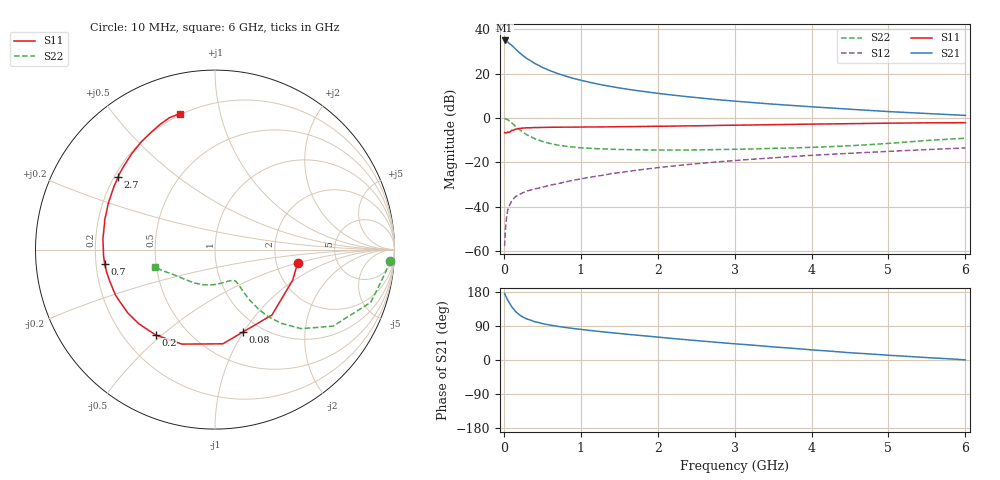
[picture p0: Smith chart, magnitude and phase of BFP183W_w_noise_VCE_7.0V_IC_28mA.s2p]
! Infineon Technologies  Discrete & RF Semiconductors
! BFP183W
! VCE =  7.0 V,  IC =  28 mA
! Common Emitter S-Parameters:  Jan 2017
# GHz  S  MA  R  50
!  f  S11  S21  S12  S22
! GHz  MAG  ANG  MAG  ANG  MAG  ANG  MAG  ANG
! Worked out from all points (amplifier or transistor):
!   77 points, 10 MHz to 6 GHz, reference 50 ohm
!   highest |S21| = 34.9 dB at 10 MHz (marker M1)
!   |S21| within 3 dB of that: start of sweep to 126.3 MHz
!   unconditionally stable (mu >= 1): 1.038 GHz to 3.433 GHz
!   at 130 MHz: K = 0.28, MSG = 34.0 dB, |S12| = -36.2 dB
!   at 2.2 GHz: K = 1.06, MAG = 14.5 dB, |S12| = -21.7 dB
!   at 6 GHz: K = 0.86, MSG = 7.3 dB, |S12| = -13.5 dB
!   lowest NFmin = 1.35 dB at 450 MHz
!   S11 on the Smith chart (normalised r, x): 10 MHz: 2.64, -0.50; 80 MHz: 0.82, -0.99; 200 MHz: 0.33, -0.48; 700 MHz: 0.24, -0.06; 2.7 GHz: 0.21, +0.32; 6 GHz: 0.19, +0.75
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0.01  0.4667 -9.2  55.56 175.7  0.0013 85.4  0.9757 -3.6
0.02  0.4651 -21.5  54.7 170.6  0.003 88.2  0.9586 -7.6
0.05  0.4831 -48.9  51.33 158.2  0.0084 74.1  0.9162 -18.7
0.08  0.4854 -71.6  46.12 148.5  0.0113 66.1  0.8301 -26.7
0.1  0.5267 -85.2  43.52 140.8  0.0133 62.8  0.7834 -33.0
0.15  0.5579 -109.3  35.98 128.5  0.0169 53.7  0.6519 -42.5
0.2  0.5791 -124.7  29.87 119.6  0.0189 51.5  0.5517 -48.1
0.25  0.5927 -135.9  25.29 113.0  0.0208 48.8  0.4756 -51.6
0.3  0.6007 -144.0  21.75 108.2  0.0226 48.4  0.4179 -53.6
0.4  0.6098 -155.2  16.97 101.1  0.0252 48.6  0.3425 -55.5
0.5  0.6118 -162.8  13.78 96.2  0.0275 50.2  0.2962 -56.0
0.6  0.6169 -168.2  11.62 92.2  0.0308 52.4  0.2661 -56.1
0.7  0.6196 -172.7  10 88.9  0.033 55.4  0.2452 -55.9
0.9  0.6219 180.0  7.815 83.2  0.0396 57.8  0.2218 -56.4
1.1  0.6276 174.2  6.439 78.5  0.0458 59.6  0.209 -57.2
1.5  0.6366 165.0  4.742 70.1  0.0587 60.9  0.1954 -61.3
2.1  0.6526 153.1  3.423 58.6  0.0793 60.7  0.1897 -72.7
2.7  0.675 143.0  2.661 47.9  0.1 58.6  0.1934 -88.1
3.1  0.6903 136.8  2.318 41.3  0.1132 56.6  0.1986 -98.5
4.1  0.7304 123.1  1.741 25.3  0.1472 51.2  0.2214 -124.8
5.1  0.7654 112.5  1.364 11.4  0.1804 45.0  0.2756 -150.4
6  0.7825 104.6  1.142 0.4  0.2115 38.8  0.3502 -163.8
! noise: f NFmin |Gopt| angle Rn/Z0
0.45  1.35  0.26  179  0.09
0.9  1.38  0.29  -179  0.1
1.9  1.87  0.44  -157  0.1
2.4  2.12  0.49  -152  0.14
